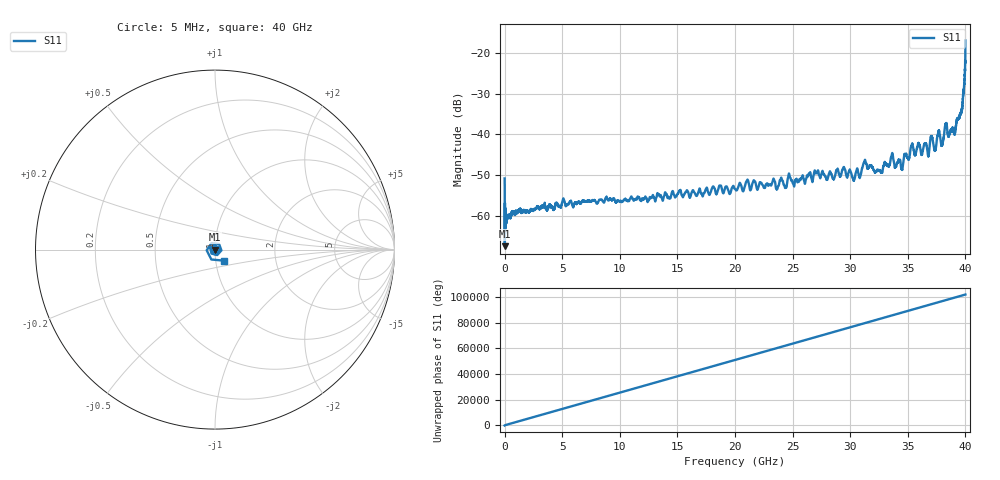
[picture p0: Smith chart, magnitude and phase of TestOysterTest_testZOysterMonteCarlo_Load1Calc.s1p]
! File created by SignalIntegrity v1.1.1: Signal and Power Integrity Tools
! https://github.com/TeledyneLeCroy/SignalIntegrity
# MHz MA S R 50.0
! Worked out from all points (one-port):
!   8000 points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, 5 MHz to 40 GHz, reference 50 ohm
!   lowest |S11| = -67.6 dB at 25 MHz (marker M1), VSWR 1.00, Z = 50 + j0.0233 ohm
!   |S11| at or under -10 dB: start of sweep to end of sweep
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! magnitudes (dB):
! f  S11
! 5 MHz  -50.9
! 25 MHz  -67.6
! 220 MHz  -61.0
! 5.005 GHz  -56.8
! 10.01 GHz  -56.7
! 15.01 GHz  -54.6
! 20 GHz  -53.5
! 25 GHz  -51.9
! 27.06 GHz  -49.3
! 27.93 GHz  -51.1
! 30 GHz  -48.9
! 30.86 GHz  -50.5
! 31.27 GHz  -46.3
! 32.62 GHz  -49.0
! 33.6 GHz  -45.2
! 34.44 GHz  -48.4
! 35.01 GHz  -45.8
! 35.36 GHz  -42.5
! 36.73 GHz  -44.6
! 37.06 GHz  -40.6
! 37.38 GHz  -43.8
! 37.67 GHz  -39.2
! 37.98 GHz  -42.5
! 38.3 GHz  -37.5
! 39.03 GHz  -39.6
! 39.67 GHz  -33.9
! 39.79 GHz  -30.8
! 40 GHz  -16.9
